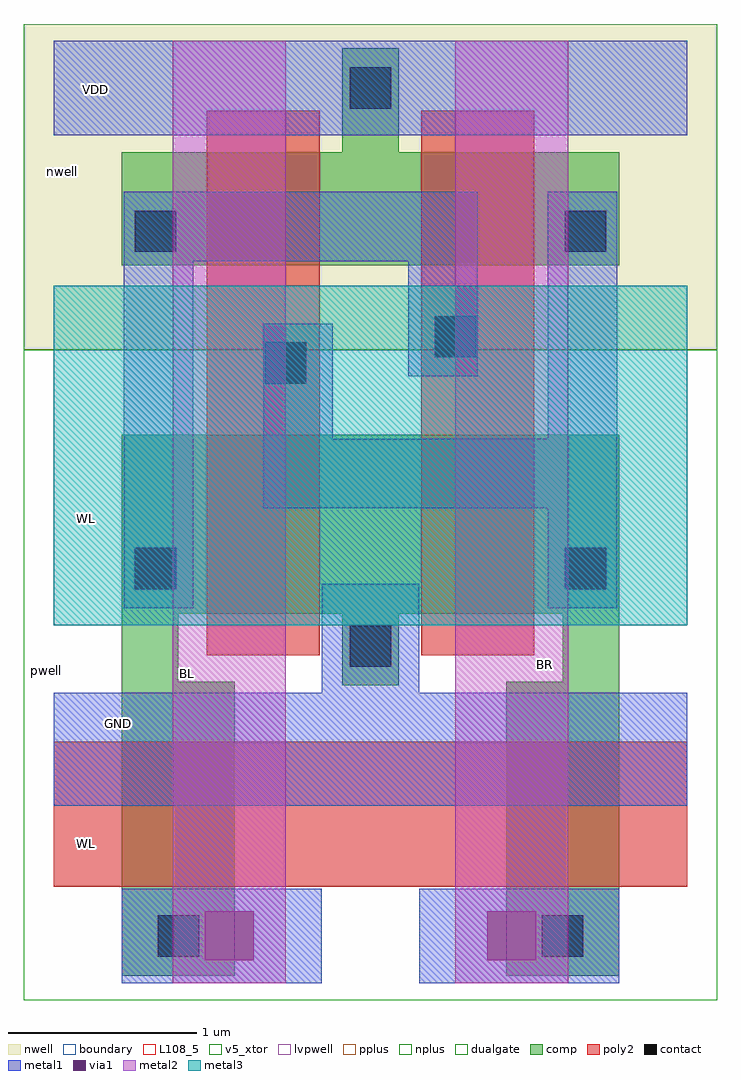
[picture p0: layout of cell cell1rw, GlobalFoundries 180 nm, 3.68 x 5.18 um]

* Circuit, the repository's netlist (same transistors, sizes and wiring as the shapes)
* NGSPICE file created from cell1rw.ext - technology: gf180mcuC
*
* OpenRAM 5-pin view.  The extracted cell exposed separate nwell/pwell bias
* ports; the physical cell ties them to the rails through its taps, so this
* view connects the device bodies to VDD/GND and presents only the five pins
* that OpenRAM's bitcell interface expects.
.subckt cell1rw BL BR WL VDD GND
X0 GND a_63_149# a_18_103# GND nfet_05v0 ad=0.627p pd=3.74u as=0.7275p ps=4.76u w=0.95u l=0.6u
X1 a_18_103# WL BL GND nfet_05v0 ad=0p pd=0u as=0.282p ps=2.14u w=0.6u l=0.77u
X2 a_63_149# a_18_103# VDD VDD pfet_05v0 ad=0.27p pd=2.1u as=0.489p ps=3.38u w=0.6u l=0.6u
X3 a_63_149# WL BR GND nfet_05v0 ad=0.7275p pd=4.76u as=0.282p ps=2.14u w=0.6u l=0.77u
X4 VDD a_63_149# a_18_103# VDD pfet_05v0 ad=0p pd=0u as=0.27p ps=2.1u w=0.6u l=0.6u
X5 a_63_149# a_18_103# GND GND nfet_05v0 ad=0p pd=0u as=0p ps=0u w=0.95u l=0.6u
.ends

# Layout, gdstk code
import gdstk
lib = gdstk.Library(unit=1e-6, precision=1e-09)
def R(c, l, rs):  # rectangles x0, y0, x1, y1
    for r in rs: c.add(gdstk.rectangle(r[:2], r[2:], *l))
def P(c, l, *ps):  # polygons
    for p in ps: c.add(gdstk.Polygon(p, *l))
boundary = (0, 0)
nwell = (21, 0)
comp = (22, 0)
poly2 = (30, 0)
pplus = (31, 0)
nplus = (32, 0)
contact = (33, 0)
metal1 = (34, 0)
via1 = (35, 0)
metal2 = (36, 0)
metal3 = (42, 0)
dualgate = (55, 0)
L108_5 = (108, 5)
v5_xtor = (112, 1)
lvpwell = (204, 0)

cell1rw = lib.new_cell('cell1rw')
R(cell1rw, boundary, [(-0.34,-0.34,3.34,4.84), (0,0,3,4.5)])
R(cell1rw, nwell, [(-0.34,3.11,3.34,4.84)])
P(cell1rw, comp, [(0.18,-0.21),(0.18,2.66),(2.82,2.66),(2.82,-0.21),(2.22,-0.21),(2.22,1.35),(2.52,1.35),(2.52,1.71),(1.65,1.71),(1.65,1.33),(1.35,1.33),(1.35,1.71),(0.48,1.71),(0.48,1.35),(0.78,1.35),(0.78,-0.21)],
  [(0.18,3.56),(0.18,4.16),(1.35,4.16),(1.35,4.71),(1.65,4.71),(1.65,4.16),(2.82,4.16),(2.82,3.56)])
R(cell1rw, poly2, [(-0.18,0.26,3.18,1.03), (0.63,1.49,1.23,4.38), (1.77,1.49,2.37,4.38)])
R(cell1rw, pplus, [(-0.34,3.11,3.34,4.84)])
R(cell1rw, nplus, [(-0.34,-0.34,3.34,3.11)])
R(cell1rw, contact, [(0.37,-0.11,0.59,0.11), (2.41,-0.11,2.63,0.11), (1.39,1.43,1.61,1.65), (0.25,1.84,0.47,2.06), (2.53,1.84,2.75,2.06), (0.94,2.93,1.16,3.15), (1.84,3.07,2.06,3.29), (0.25,3.63,0.47,3.85), (2.53,3.63,2.75,3.85), (1.39,4.39,1.61,4.61)])
R(cell1rw, metal1, [(0.18,-0.25,1.24,0.25), (1.76,-0.25,2.82,0.25), (0.1,1.02,0.24,1.24), (-0.18,4.25,3.18,4.75)])
P(cell1rw, metal1, [(0.19,1.74),(0.19,3.95),(2.07,3.95),(2.07,2.97),(1.7,2.97),(1.7,3.58),(0.56,3.58),(0.56,1.74)],
  [(2.44,1.74),(2.44,2.27),(0.93,2.27),(0.93,3.25),(1.3,3.25),(1.3,2.64),(2.44,2.64),(2.44,3.95),(2.81,3.95),(2.81,1.74)],
  [(-0.18,0.69),(-0.18,1.29),(1.24,1.29),(1.24,1.87),(1.76,1.87),(1.76,1.29),(3.18,1.29),(3.18,0.69)])
R(cell1rw, via1, [(0.62,-0.13,0.88,0.13), (2.12,-0.13,2.38,0.13)])
R(cell1rw, metal2, [(0.45,-0.25,1.05,4.75), (1.95,-0.25,2.55,4.75)])
R(cell1rw, metal3, [(-0.18,1.65,3.18,3.45)])
R(cell1rw, dualgate, [(-0.34,-0.34,3.34,4.84)])
R(cell1rw, L108_5, [(-0.34,-0.34,3.34,4.84)])
R(cell1rw, v5_xtor, [(-0.34,-0.34,3.34,4.84)])
R(cell1rw, lvpwell, [(-0.34,-0.34,3.34,3.11)])
cell1rw.add(gdstk.Label('VDD', (0.041,4.491), layer=34, texttype=0))
cell1rw.add(gdstk.Label('BL', (0.531,1.395), layer=36, texttype=0))
cell1rw.add(gdstk.Label('BR', (2.426,1.438), layer=36, texttype=0))
cell1rw.add(gdstk.Label('WL', (-0.009,2.216), layer=42, texttype=0))
cell1rw.add(gdstk.Label('nwell', (-0.137,4.056), layer=21, texttype=0))
cell1rw.add(gdstk.Label('pwell', (-0.222,1.408), layer=204, texttype=0))
cell1rw.add(gdstk.Label('GND', (0.163,1.13), layer=34, texttype=0))
cell1rw.add(gdstk.Label('WL', (-0.005,0.492), layer=30, texttype=0))

lib.write_gds('cell1rw.gds')
